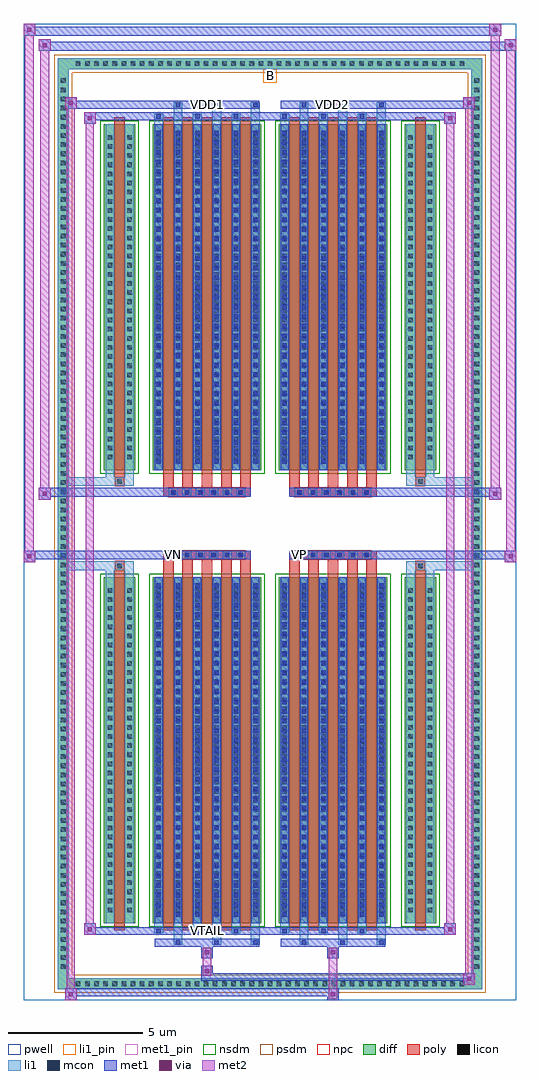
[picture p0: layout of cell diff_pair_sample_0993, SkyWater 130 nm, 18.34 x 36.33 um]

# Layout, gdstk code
import gdstk
lib = gdstk.Library(unit=1e-6, precision=5e-09)
def R(c, l, rs):  # rectangles x0, y0, x1, y1
    for r in rs: c.add(gdstk.rectangle(r[:2], r[2:], *l))
def A(c, l, x, y, w, h, nx, ny, dx, dy):  # array of equal rectangles
    R(c, l, [(x+i*dx, y+j*dy, x+i*dx+w, y+j*dy+h) for i in range(nx) for j in range(ny)])
def P(c, l, *ps):  # polygons
    for p in ps: c.add(gdstk.Polygon(p, *l))
pwell = (64, 44)
diff = (65, 20)
poly = (66, 20)
licon = (66, 44)
li1_pin = (67, 16)
li1 = (67, 20)
mcon = (67, 44)
met1_pin = (68, 16)
met1 = (68, 20)
via = (68, 44)
met2 = (69, 20)
nsdm = (93, 44)
psdm = (94, 20)
npc = (95, 20)

diff_pair_sample_0993 = lib.new_cell('diff_pair_sample_0993')
R(diff_pair_sample_0993, pwell, [(-9.17,-17.73,9.17,18.6), (-6.49,-15.92,-0.01,-0.8), (0.01,-15.92,6.49,-0.8), (-6.49,0.8,-0.01,15.92), (0.01,0.8,6.49,15.92)])
A(diff_pair_sample_0993, diff, -7.345, -17.33, 0.41, 0.41, 43, 2, 0.34, 34.25)
A(diff_pair_sample_0993, diff, -7.9, -16.695, 0.41, 0.41, 1, 98, 0, 0.34)
A(diff_pair_sample_0993, diff, 7.49, -16.695, 0.41, 0.41, 1, 98, 0, 0.34)
R(diff_pair_sample_0993, diff, [(-7.345,-17.33,7.345,-16.92), (-7.9,-16.695,-7.49,16.695), (7.49,-16.695,7.9,16.695), (-6.18,-14.875,-5.01,-1.985), (-4.37,-14.875,-0.32,-1.985), (0.32,-14.875,4.37,-1.985), (5.01,-14.875,6.18,-1.985), (-6.18,1.985,-5.01,14.875), (-4.37,1.985,-0.32,14.875), (0.32,1.985,4.37,14.875), (5.01,1.985,6.18,14.875), (-7.345,16.92,7.345,17.33)])
P(diff_pair_sample_0993, diff, [(7.9,17.33),(-7.9,17.33),(-7.9,-16.92),(-7.49,-16.92),(-7.49,16.92),(7.49,16.92),(7.49,-16.92),(-7.49,-16.92),(-7.9,-16.92),(-7.9,-17.33),(7.9,-17.33)])
A(diff_pair_sample_0993, poly, -3.98, -15.125, 0.39, 13.39, 5, 2, 0.72, 16.86)
A(diff_pair_sample_0993, poly, 0.71, -15.125, 0.39, 13.39, 5, 2, 0.72, 16.86)
A(diff_pair_sample_0993, poly, -3.98, -1.735, 0.39, 0.405, 5, 2, 0.72, 3.065)
A(diff_pair_sample_0993, poly, 0.71, -1.735, 0.39, 0.405, 5, 2, 0.72, 3.065)
A(diff_pair_sample_0993, poly, -3.76, -1.33, 0.33, 0.33, 6, 2, 0.5, 2.33)
A(diff_pair_sample_0993, poly, 0.93, -1.33, 0.33, 0.33, 6, 2, 0.5, 2.33)
R(diff_pair_sample_0993, poly, [(-5.79,-15.125,-5.4,-1.735), (5.4,-15.125,5.79,-1.735), (-5.76,-1.735,-5.43,-1.405), (-5.76,-1.735,-5.43,-1.405), (5.43,-1.735,5.76,-1.405), (5.43,-1.735,5.76,-1.405), (-3.98,-1.33,-0.71,-1), (0.71,-1.33,3.98,-1), (-3.98,1,-0.71,1.33), (0.71,1,3.98,1.33), (-5.76,1.405,-5.43,1.735), (-5.76,1.405,-5.43,1.735), (5.43,1.405,5.76,1.735), (5.43,1.405,5.76,1.735), (-5.79,1.735,-5.4,15.125), (5.4,1.735,5.79,15.125)])
A(diff_pair_sample_0993, licon, -7.225, -17.21, 0.17, 0.17, 43, 2, 0.34, 34.25)
A(diff_pair_sample_0993, licon, -7.78, -16.575, 0.17, 0.17, 1, 98, 0, 0.34)
A(diff_pair_sample_0993, licon, 7.61, -16.575, 0.17, 0.17, 1, 98, 0, 0.34)
A(diff_pair_sample_0993, licon, -6.04, -14.465, 0.17, 0.17, 1, 36, 0, 0.34)
A(diff_pair_sample_0993, licon, -5.32, -14.465, 0.17, 0.17, 1, 36, 0, 0.34)
A(diff_pair_sample_0993, licon, -4.23, -14.465, 0.17, 0.17, 6, 36, 0.72, 0.34)
A(diff_pair_sample_0993, licon, 0.46, -14.465, 0.17, 0.17, 6, 36, 0.72, 0.34)
A(diff_pair_sample_0993, licon, 5.15, -14.465, 0.17, 0.17, 1, 36, 0, 0.34)
A(diff_pair_sample_0993, licon, 5.87, -14.465, 0.17, 0.17, 1, 36, 0, 0.34)
A(diff_pair_sample_0993, licon, -3.68, -1.25, 0.17, 0.17, 6, 2, 0.5, 2.33)
A(diff_pair_sample_0993, licon, 1.01, -1.25, 0.17, 0.17, 6, 2, 0.5, 2.33)
A(diff_pair_sample_0993, licon, -6.04, 2.395, 0.17, 0.17, 1, 36, 0, 0.34)
A(diff_pair_sample_0993, licon, -5.32, 2.395, 0.17, 0.17, 1, 36, 0, 0.34)
A(diff_pair_sample_0993, licon, -4.23, 2.395, 0.17, 0.17, 6, 36, 0.72, 0.34)
A(diff_pair_sample_0993, licon, 0.46, 2.395, 0.17, 0.17, 6, 36, 0.72, 0.34)
A(diff_pair_sample_0993, licon, 5.15, 2.395, 0.17, 0.17, 1, 36, 0, 0.34)
A(diff_pair_sample_0993, licon, 5.87, 2.395, 0.17, 0.17, 1, 36, 0, 0.34)
R(diff_pair_sample_0993, licon, [(-5.68,-1.655,-5.51,-1.485), (5.51,-1.655,5.68,-1.485), (-5.68,1.485,-5.51,1.655), (5.51,1.485,5.68,1.655)])
R(diff_pair_sample_0993, li1_pin, [(-0.25,16.42,0.25,16.92)])
A(diff_pair_sample_0993, li1, -7.305, -17.29, 0.33, 0.33, 43, 2, 0.34, 34.25)
A(diff_pair_sample_0993, li1, -7.86, -16.655, 0.33, 0.33, 1, 98, 0, 0.34)
A(diff_pair_sample_0993, li1, 7.53, -16.655, 0.33, 0.33, 1, 98, 0, 0.34)
A(diff_pair_sample_0993, li1, -3.59, -15.68, 0.33, 0.805, 3, 2, 1.44, 30.555)
A(diff_pair_sample_0993, li1, -3.51, -15.68, 0.17, 0.17, 3, 2, 1.44, 31.19)
A(diff_pair_sample_0993, li1, 1.1, -15.68, 0.33, 0.805, 3, 2, 1.44, 30.555)
A(diff_pair_sample_0993, li1, 1.18, -15.68, 0.17, 0.17, 3, 2, 1.44, 31.19)
A(diff_pair_sample_0993, li1, -4.31, -15.25, 0.33, 0.375, 3, 2, 1.44, 30.125)
A(diff_pair_sample_0993, li1, -4.23, -15.25, 0.17, 0.17, 3, 2, 1.44, 30.33)
A(diff_pair_sample_0993, li1, 0.38, -15.25, 0.33, 0.375, 3, 2, 1.44, 30.125)
A(diff_pair_sample_0993, li1, 0.46, -15.25, 0.17, 0.17, 3, 2, 1.44, 30.33)
A(diff_pair_sample_0993, li1, -4.31, -14.875, 0.33, 12.89, 6, 2, 0.72, 16.86)
A(diff_pair_sample_0993, li1, 0.38, -14.875, 0.33, 12.89, 6, 2, 0.72, 16.86)
A(diff_pair_sample_0993, li1, -4.23, -14.635, 0.17, 0.17, 6, 35, 0.72, 0.36)
A(diff_pair_sample_0993, li1, -4.23, -14.635, 0.17, 12.41, 6, 2, 0.72, 16.86)
A(diff_pair_sample_0993, li1, 0.46, -14.635, 0.17, 0.17, 6, 35, 0.72, 0.36)
A(diff_pair_sample_0993, li1, 0.46, -14.635, 0.17, 12.41, 6, 2, 0.72, 16.86)
A(diff_pair_sample_0993, li1, -6.12, -14.545, 0.33, 0.33, 1, 36, 0, 0.34)
A(diff_pair_sample_0993, li1, -5.4, -14.545, 0.33, 0.33, 1, 36, 0, 0.34)
A(diff_pair_sample_0993, li1, -4.31, -14.545, 0.33, 0.33, 6, 36, 0.72, 0.34)
A(diff_pair_sample_0993, li1, 0.38, -14.545, 0.33, 0.33, 6, 36, 0.72, 0.34)
A(diff_pair_sample_0993, li1, 5.07, -14.545, 0.33, 0.33, 1, 36, 0, 0.34)
A(diff_pair_sample_0993, li1, 5.79, -14.545, 0.33, 0.33, 1, 36, 0, 0.34)
A(diff_pair_sample_0993, li1, -3.76, -1.33, 0.33, 0.33, 6, 2, 0.5, 2.33)
A(diff_pair_sample_0993, li1, 0.93, -1.33, 0.33, 0.33, 6, 2, 0.5, 2.33)
A(diff_pair_sample_0993, li1, -4.23, 2.225, 0.17, 0.17, 6, 35, 0.72, 0.36)
A(diff_pair_sample_0993, li1, 0.46, 2.225, 0.17, 0.17, 6, 35, 0.72, 0.36)
A(diff_pair_sample_0993, li1, -6.12, 2.315, 0.33, 0.33, 1, 36, 0, 0.34)
A(diff_pair_sample_0993, li1, -5.4, 2.315, 0.33, 0.33, 1, 36, 0, 0.34)
A(diff_pair_sample_0993, li1, -4.31, 2.315, 0.33, 0.33, 6, 36, 0.72, 0.34)
A(diff_pair_sample_0993, li1, 0.38, 2.315, 0.33, 0.33, 6, 36, 0.72, 0.34)
A(diff_pair_sample_0993, li1, 5.07, 2.315, 0.33, 0.33, 1, 36, 0, 0.34)
A(diff_pair_sample_0993, li1, 5.79, 2.315, 0.33, 0.33, 1, 36, 0, 0.34)
R(diff_pair_sample_0993, li1, [(-7.9,-17.33,-7.49,-16.92), (-7.9,-17.33,-7.49,-16.92), (-7.49,-17.33,7.49,-16.92), (7.49,-17.33,7.9,-16.92), (7.49,-17.33,7.9,-16.92), (-7.9,-16.92,-7.49,16.92), (7.49,-16.92,7.9,16.92), (-6.12,-14.875,-5.79,-1.985), (-5.4,-14.875,-5.07,-1.985), (5.07,-14.875,5.4,-1.985), (5.79,-14.875,6.12,-1.985), (-6.12,-1.985,-5.79,-1.405), (-5.4,-1.985,-5.07,-1.405), (5.07,-1.985,5.4,-1.405), (5.79,-1.985,6.12,-1.405), (-7.9,-1.735,-5.76,-1.405), (-6.12,-1.735,-5.76,-1.405), (-5.76,-1.735,-5.43,-1.405), (-5.43,-1.735,-5.07,-1.405), (5.07,-1.735,5.43,-1.405), (5.43,-1.735,5.76,-1.405), (5.43,-1.735,7.9,-1.405), (5.76,-1.735,6.12,-1.405), (-7.9,1.405,-5.76,1.735), (-6.12,1.405,-5.76,1.735), (-6.12,1.405,-5.79,1.985), (-5.76,1.405,-5.43,1.735), (-5.43,1.405,-5.07,1.735), (-5.4,1.405,-5.07,1.985), (5.07,1.405,5.43,1.735), (5.07,1.405,5.4,1.985), (5.43,1.405,5.76,1.735), (5.43,1.405,7.9,1.735), (5.76,1.405,6.12,1.735), (5.79,1.405,6.12,1.985), (-6.12,1.985,-5.79,14.875), (-5.4,1.985,-5.07,14.875), (5.07,1.985,5.4,14.875), (5.79,1.985,6.12,14.875), (-7.9,16.92,-7.49,17.33), (-7.9,16.92,-7.49,17.33), (-7.49,16.92,7.49,17.33), (7.49,16.92,7.9,17.33), (7.49,16.92,7.9,17.33)])
A(diff_pair_sample_0993, mcon, -3.51, -15.68, 0.17, 0.17, 3, 2, 1.44, 31.19)
A(diff_pair_sample_0993, mcon, 1.18, -15.68, 0.17, 0.17, 3, 2, 1.44, 31.19)
A(diff_pair_sample_0993, mcon, -4.23, -15.25, 0.17, 0.17, 3, 2, 1.44, 30.33)
A(diff_pair_sample_0993, mcon, 0.46, -15.25, 0.17, 0.17, 3, 2, 1.44, 30.33)
A(diff_pair_sample_0993, mcon, -4.23, -14.635, 0.17, 0.17, 6, 35, 0.72, 0.36)
A(diff_pair_sample_0993, mcon, 0.46, -14.635, 0.17, 0.17, 6, 35, 0.72, 0.36)
A(diff_pair_sample_0993, mcon, -3.68, -1.25, 0.17, 0.17, 6, 2, 0.5, 2.33)
A(diff_pair_sample_0993, mcon, 1.01, -1.25, 0.17, 0.17, 6, 2, 0.5, 2.33)
A(diff_pair_sample_0993, mcon, -4.23, 2.225, 0.17, 0.17, 6, 35, 0.72, 0.36)
A(diff_pair_sample_0993, mcon, 0.46, 2.225, 0.17, 0.17, 6, 35, 0.72, 0.36)
R(diff_pair_sample_0993, met1_pin, [(-2.48,-15.29,-2.21,-15.02), (-3.73,-1.29,-3.46,-1.02), (0.96,-1.29,1.23,-1.02), (-2.48,15.47,-2.21,15.74), (2.21,15.47,2.48,15.74)])
A(diff_pair_sample_0993, met1, -3.57, -15.74, 0.29, 0.29, 3, 2, 1.44, 31.19)
A(diff_pair_sample_0993, met1, 1.12, -15.74, 0.29, 0.29, 3, 2, 1.44, 31.19)
A(diff_pair_sample_0993, met1, -4.29, -15.31, 0.29, 0.29, 3, 2, 1.44, 30.33)
A(diff_pair_sample_0993, met1, 0.4, -15.31, 0.29, 0.29, 3, 2, 1.44, 30.33)
A(diff_pair_sample_0993, met1, -4.29, -14.875, 0.29, 12.89, 6, 2, 0.72, 16.86)
A(diff_pair_sample_0993, met1, 0.4, -14.875, 0.29, 12.89, 6, 2, 0.72, 16.86)
A(diff_pair_sample_0993, met1, -4.29, -14.695, 0.29, 0.29, 6, 35, 0.72, 0.36)
A(diff_pair_sample_0993, met1, 0.4, -14.695, 0.29, 0.29, 6, 35, 0.72, 0.36)
A(diff_pair_sample_0993, met1, -3.74, -1.31, 0.29, 0.29, 6, 2, 0.5, 2.33)
A(diff_pair_sample_0993, met1, 0.95, -1.31, 0.29, 0.29, 6, 2, 0.5, 2.33)
A(diff_pair_sample_0993, met1, -4.29, 2.165, 0.29, 0.29, 6, 35, 0.72, 0.36)
A(diff_pair_sample_0993, met1, 0.4, 2.165, 0.29, 0.29, 6, 35, 0.72, 0.36)
R(diff_pair_sample_0993, met1, [(-7.63,-17.73,-7.2,-17.3), (2.13,-17.73,2.56,-17.3), (-7.63,-17.59,2.56,-17.3), (7.2,-17.16,7.63,-16.73), (-2.56,-17.02,7.63,-16.73), (-2.56,-16.88,-2.13,-16.45), (-2.56,-16.17,-2.13,-15.74), (2.13,-16.17,2.56,-15.74), (-4.29,-15.74,-0.4,-15.45), (0.4,-15.74,4.29,-15.45), (-6.92,-15.31,-6.49,-14.88), (-6.92,-15.31,-4.29,-15.02), (-4.29,-15.31,-0.4,-15.02), (-0.4,-15.31,0.4,-15.02), (0.4,-15.31,4.29,-15.02), (4.29,-15.31,6.92,-15.02), (6.49,-15.31,6.92,-14.88), (-9.17,-1.43,-8.74,-1), (8.74,-1.43,9.17,-1), (-9.17,-1.33,-0.71,-1), (-3.98,-1.33,-0.71,-1), (0.71,-1.33,3.98,-1), (0.71,-1.33,9.17,-1), (-8.6,0.9,-8.17,1.33), (8.17,0.9,8.6,1.33), (-8.6,1,-3.98,1.33), (-3.98,1,-0.71,1.33), (0.71,1,3.98,1.33), (3.98,1,8.6,1.33), (-6.92,14.88,-6.49,15.31), (6.49,14.88,6.92,15.31), (-6.92,15.02,-4.29,15.31), (-4.29,15.02,-0.4,15.31), (-0.4,15.02,0.4,15.31), (0.4,15.02,4.29,15.31), (4.29,15.02,6.92,15.31), (-7.63,15.45,-7.2,15.88), (-7.63,15.45,-4.29,15.74), (-4.29,15.45,-0.4,15.74), (0.4,15.45,4.29,15.74), (4.29,15.45,7.63,15.74), (7.2,15.45,7.63,15.88), (-8.6,17.6,-8.17,18.03), (-8.6,17.6,-6.49,17.93), (-6.49,17.6,6.49,17.93), (6.49,17.6,9.17,17.93), (8.74,17.6,9.17,18.03), (-9.17,18.17,-8.74,18.6), (-9.17,18.17,-6.49,18.5), (-6.49,18.17,6.49,18.5), (6.49,18.17,8.6,18.5), (8.17,18.17,8.6,18.6)])
R(diff_pair_sample_0993, via, [(-7.49,-17.59,-7.34,-17.44), (2.27,-17.59,2.42,-17.44), (7.34,-17.02,7.49,-16.87), (-2.42,-16.74,-2.27,-16.59), (-2.42,-16.03,-2.27,-15.88), (2.27,-16.03,2.42,-15.88), (-6.78,-15.17,-6.63,-15.02), (6.63,-15.17,6.78,-15.02), (-9.03,-1.29,-8.88,-1.14), (8.88,-1.29,9.03,-1.14), (-8.46,1.04,-8.31,1.19), (8.31,1.04,8.46,1.19), (-6.78,15.02,-6.63,15.17), (6.63,15.02,6.78,15.17), (-7.49,15.59,-7.34,15.74), (7.34,15.59,7.49,15.74), (-8.46,17.74,-8.31,17.89), (8.88,17.74,9.03,17.89), (-9.03,18.31,-8.88,18.46), (8.31,18.31,8.46,18.46)])
R(diff_pair_sample_0993, met2, [(-7.63,-17.73,-7.2,-17.3), (-7.56,-17.73,-7.27,15.88), (-7.27,-17.73,-7.2,-17.3), (-7.58,-17.68,-7.25,-17.35), (2.18,-17.68,2.51,-17.35), (2.18,-17.35,2.51,-16.12), (7.2,-17.16,7.63,-16.73), (7.27,-17.16,7.56,15.88), (7.56,-17.16,7.63,-16.73), (7.25,-17.11,7.58,-16.78), (-2.51,-16.83,-2.18,-16.5), (-2.51,-16.5,-2.18,-16.12), (-2.51,-16.12,-2.18,-15.79), (2.18,-16.12,2.51,-15.79), (-6.92,-15.31,-6.49,-14.88), (-6.85,-15.31,-6.56,15.31), (-6.56,-15.31,-6.49,-14.88), (6.49,-15.31,6.92,-14.88), (6.56,-15.31,6.85,15.31), (6.85,-15.31,6.92,-14.88), (-6.87,-15.26,-6.54,-14.93), (6.54,-15.26,6.87,-14.93), (-9.17,-1.43,-8.74,-1), (-9.12,-1.43,-8.79,18.6), (-8.79,-1.43,-8.74,-1), (8.74,-1.43,9.17,-1), (8.79,-1.43,9.12,18.03), (9.12,-1.43,9.17,-1), (-9.12,-1.38,-8.79,-1.05), (8.79,-1.38,9.12,-1.05), (-8.6,0.9,-8.17,1.33), (-8.55,0.9,-8.22,18.03), (-8.22,0.9,-8.17,1.33), (8.17,0.9,8.6,1.33), (8.22,0.9,8.55,18.6), (8.55,0.9,8.6,1.33), (-8.55,0.95,-8.22,1.28), (8.22,0.95,8.55,1.28), (-6.92,14.88,-6.49,15.31), (-6.56,14.88,-6.49,15.31), (6.49,14.88,6.92,15.31), (6.85,14.88,6.92,15.31), (-6.87,14.93,-6.54,15.26), (6.54,14.93,6.87,15.26), (-7.63,15.45,-7.2,15.88), (-7.27,15.45,-7.2,15.88), (7.2,15.45,7.63,15.88), (7.56,15.45,7.63,15.88), (-7.58,15.5,-7.25,15.83), (7.25,15.5,7.58,15.83), (-8.6,17.6,-8.17,18.03), (-8.22,17.6,-8.17,18.03), (8.74,17.6,9.17,18.03), (9.12,17.6,9.17,18.03), (-8.55,17.65,-8.22,17.98), (8.79,17.65,9.12,17.98), (-9.17,18.17,-8.74,18.6), (-8.79,18.17,-8.74,18.6), (8.17,18.17,8.6,18.6), (8.55,18.17,8.6,18.6), (-9.12,18.22,-8.79,18.55), (8.22,18.22,8.55,18.55)])
R(diff_pair_sample_0993, nsdm, [(-6.31,-15.005,-4.88,-1.855), (-4.5,-15.005,-0.19,-1.855), (0.19,-15.005,4.5,-1.855), (4.88,-15.005,6.31,-1.855), (-6.31,1.855,-4.88,15.005), (-4.5,1.855,-0.19,15.005), (0.19,1.855,4.5,15.005), (4.88,1.855,6.31,15.005)])
P(diff_pair_sample_0993, psdm, [(8.03,17.46),(-8.03,17.46),(-8.03,-16.79),(-7.36,-16.79),(-7.36,16.79),(7.36,16.79),(7.36,-16.79),(-7.36,-16.79),(-8.03,-16.79),(-8.03,-17.46),(8.03,-17.46)])
A(diff_pair_sample_0993, npc, -3.78, -1.35, 0.37, 0.37, 6, 2, 0.5, 2.33)
A(diff_pair_sample_0993, npc, 0.91, -1.35, 0.37, 0.37, 6, 2, 0.5, 2.33)
R(diff_pair_sample_0993, npc, [(-5.78,-1.755,-5.41,-1.385), (5.41,-1.755,5.78,-1.385), (-3.78,-1.35,-2.91,-0.98), (-3.78,-1.35,-2.91,-0.98), (-3.28,-1.35,-2.41,-0.98), (-3.28,-1.35,-2.41,-0.98), (-2.78,-1.35,-1.91,-0.98), (-2.78,-1.35,-1.91,-0.98), (-2.28,-1.35,-1.41,-0.98), (-2.28,-1.35,-1.41,-0.98), (-1.78,-1.35,-0.91,-0.98), (-1.78,-1.35,-0.91,-0.98), (0.91,-1.35,1.78,-0.98), (0.91,-1.35,1.78,-0.98), (1.41,-1.35,2.28,-0.98), (1.41,-1.35,2.28,-0.98), (1.91,-1.35,2.78,-0.98), (1.91,-1.35,2.78,-0.98), (2.41,-1.35,3.28,-0.98), (2.41,-1.35,3.28,-0.98), (2.91,-1.35,3.78,-0.98), (2.91,-1.35,3.78,-0.98), (-3.78,0.98,-2.91,1.35), (-3.78,0.98,-2.91,1.35), (-3.28,0.98,-2.41,1.35), (-3.28,0.98,-2.41,1.35), (-2.78,0.98,-1.91,1.35), (-2.78,0.98,-1.91,1.35), (-2.28,0.98,-1.41,1.35), (-2.28,0.98,-1.41,1.35), (-1.78,0.98,-0.91,1.35), (-1.78,0.98,-0.91,1.35), (0.91,0.98,1.78,1.35), (0.91,0.98,1.78,1.35), (1.41,0.98,2.28,1.35), (1.41,0.98,2.28,1.35), (1.91,0.98,2.78,1.35), (1.91,0.98,2.78,1.35), (2.41,0.98,3.28,1.35), (2.41,0.98,3.28,1.35), (2.91,0.98,3.78,1.35), (2.91,0.98,3.78,1.35), (-5.78,1.385,-5.41,1.755), (5.41,1.385,5.78,1.755)])
diff_pair_sample_0993.add(gdstk.Label('VTAIL', (-2.345,-15.155), layer=68, texttype=5))
diff_pair_sample_0993.add(gdstk.Label('VN', (-3.595,-1.155), layer=68, texttype=5))
diff_pair_sample_0993.add(gdstk.Label('VP', (1.095,-1.155), layer=68, texttype=5))
diff_pair_sample_0993.add(gdstk.Label('B', (0,16.67), layer=67, texttype=5))
diff_pair_sample_0993.add(gdstk.Label('VDD2', (2.345,15.605), layer=68, texttype=5))
diff_pair_sample_0993.add(gdstk.Label('VDD1', (-2.345,15.605), layer=68, texttype=5))

lib.write_gds('diff_pair_sample_0993.gds')
